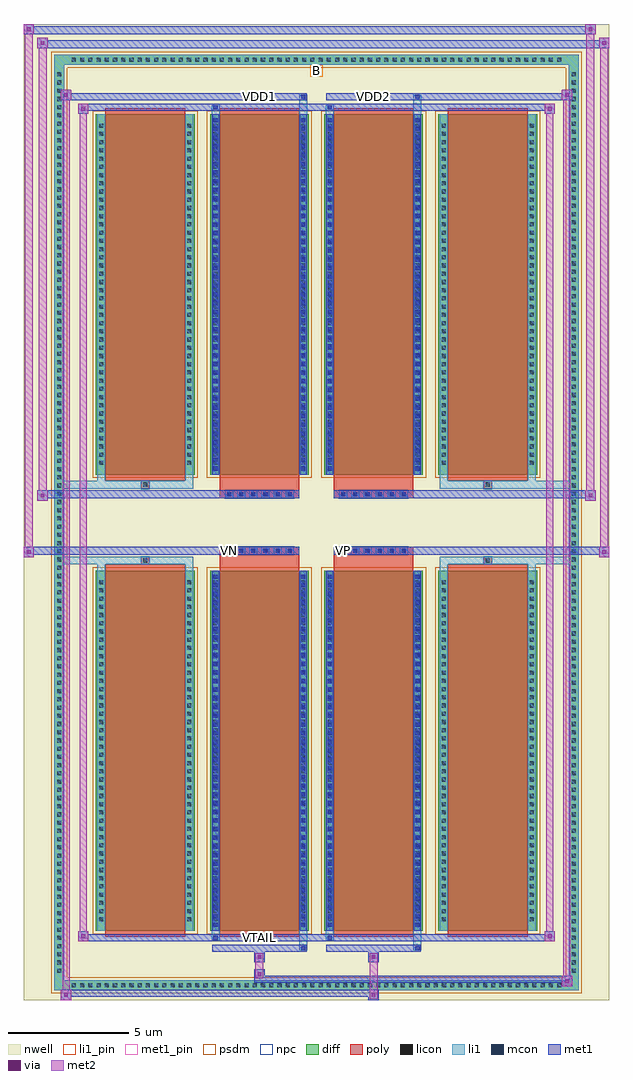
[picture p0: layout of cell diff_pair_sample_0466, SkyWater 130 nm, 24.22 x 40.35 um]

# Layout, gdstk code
import gdstk
lib = gdstk.Library(unit=1e-6, precision=5e-09)
def R(c, l, rs):  # rectangles x0, y0, x1, y1
    for r in rs: c.add(gdstk.rectangle(r[:2], r[2:], *l))
def A(c, l, x, y, w, h, nx, ny, dx, dy):  # array of equal rectangles
    R(c, l, [(x+i*dx, y+j*dy, x+i*dx+w, y+j*dy+h) for i in range(nx) for j in range(ny)])
def P(c, l, *ps):  # polygons
    for p in ps: c.add(gdstk.Polygon(p, *l))
nwell = (64, 20)
diff = (65, 20)
poly = (66, 20)
licon = (66, 44)
li1_pin = (67, 16)
li1 = (67, 20)
mcon = (67, 44)
met1_pin = (68, 16)
met1 = (68, 20)
via = (68, 44)
met2 = (69, 20)
psdm = (94, 20)
npc = (95, 20)

diff_pair_sample_0466 = lib.new_cell('diff_pair_sample_0466')
R(diff_pair_sample_0466, nwell, [(-12.11,-19.74,12.11,20.61), (-9.43,-17.93,-0.01,-0.805), (0.01,-17.93,9.43,-0.805), (-9.43,0.805,-0.01,17.93), (0.01,0.805,9.43,17.93)])
A(diff_pair_sample_0466, diff, -10.235, -19.34, 0.41, 0.41, 60, 2, 0.34, 38.27)
A(diff_pair_sample_0466, diff, -10.84, -18.735, 0.41, 0.41, 1, 110, 0, 0.34)
A(diff_pair_sample_0466, diff, 10.43, -18.735, 0.41, 0.41, 1, 110, 0, 0.34)
A(diff_pair_sample_0466, diff, -9.12, -16.885, 4.08, 14.9, 4, 2, 4.72, 18.87)
R(diff_pair_sample_0466, diff, [(-10.235,-19.34,10.235,-18.93), (-10.84,-18.735,-10.43,18.735), (10.43,-18.735,10.84,18.735), (-10.235,18.93,10.235,19.34)])
P(diff_pair_sample_0466, diff, [(10.84,19.34),(-10.84,19.34),(-10.84,-18.93),(-10.43,-18.93),(-10.43,18.93),(10.43,18.93),(10.43,-18.93),(-10.43,-18.93),(-10.84,-18.93),(-10.84,-19.34),(10.84,-19.34)])
A(diff_pair_sample_0466, poly, -8.73, -17.135, 3.3, 15.4, 4, 2, 4.72, 18.87)
A(diff_pair_sample_0466, poly, -3.775, -1.335, 0.33, 0.33, 6, 2, 0.5, 2.34)
A(diff_pair_sample_0466, poly, 0.945, -1.335, 0.33, 0.33, 6, 2, 0.5, 2.34)
R(diff_pair_sample_0466, poly, [(-7.245,-1.735,-6.915,-1.405), (-7.245,-1.735,-6.915,-1.405), (-4.01,-1.735,-0.71,-1.335), (0.71,-1.735,4.01,-1.335), (6.915,-1.735,7.245,-1.405), (6.915,-1.735,7.245,-1.405), (-4.01,-1.335,-0.71,-1.005), (0.71,-1.335,4.01,-1.005), (-4.01,1.005,-0.71,1.335), (0.71,1.005,4.01,1.335), (-4.01,1.335,-0.71,1.735), (0.71,1.335,4.01,1.735), (-7.245,1.405,-6.915,1.735), (-7.245,1.405,-6.915,1.735), (6.915,1.405,7.245,1.735), (6.915,1.405,7.245,1.735)])
A(diff_pair_sample_0466, licon, -10.115, -19.22, 0.17, 0.17, 60, 2, 0.34, 38.27)
A(diff_pair_sample_0466, licon, -10.72, -18.615, 0.17, 0.17, 1, 110, 0, 0.34)
A(diff_pair_sample_0466, licon, 10.55, -18.615, 0.17, 0.17, 1, 110, 0, 0.34)
A(diff_pair_sample_0466, licon, -8.98, -16.49, 0.17, 0.17, 1, 42, 0, 0.34)
A(diff_pair_sample_0466, licon, -5.35, -16.49, 0.17, 0.17, 1, 42, 0, 0.34)
A(diff_pair_sample_0466, licon, -4.26, -16.49, 0.17, 0.17, 1, 42, 0, 0.34)
A(diff_pair_sample_0466, licon, -0.63, -16.49, 0.17, 0.17, 1, 42, 0, 0.34)
A(diff_pair_sample_0466, licon, 0.46, -16.49, 0.17, 0.17, 1, 42, 0, 0.34)
A(diff_pair_sample_0466, licon, 4.09, -16.49, 0.17, 0.17, 1, 42, 0, 0.34)
A(diff_pair_sample_0466, licon, 5.18, -16.49, 0.17, 0.17, 1, 42, 0, 0.34)
A(diff_pair_sample_0466, licon, 8.81, -16.49, 0.17, 0.17, 1, 42, 0, 0.34)
A(diff_pair_sample_0466, licon, -3.695, -1.255, 0.17, 0.17, 6, 2, 0.5, 2.34)
A(diff_pair_sample_0466, licon, 1.025, -1.255, 0.17, 0.17, 6, 2, 0.5, 2.34)
A(diff_pair_sample_0466, licon, -8.98, 2.38, 0.17, 0.17, 1, 42, 0, 0.34)
A(diff_pair_sample_0466, licon, -5.35, 2.38, 0.17, 0.17, 1, 42, 0, 0.34)
A(diff_pair_sample_0466, licon, -4.26, 2.38, 0.17, 0.17, 1, 42, 0, 0.34)
A(diff_pair_sample_0466, licon, -0.63, 2.38, 0.17, 0.17, 1, 42, 0, 0.34)
A(diff_pair_sample_0466, licon, 0.46, 2.38, 0.17, 0.17, 1, 42, 0, 0.34)
A(diff_pair_sample_0466, licon, 4.09, 2.38, 0.17, 0.17, 1, 42, 0, 0.34)
A(diff_pair_sample_0466, licon, 5.18, 2.38, 0.17, 0.17, 1, 42, 0, 0.34)
A(diff_pair_sample_0466, licon, 8.81, 2.38, 0.17, 0.17, 1, 42, 0, 0.34)
R(diff_pair_sample_0466, licon, [(-7.165,-1.655,-6.995,-1.485), (6.995,-1.655,7.165,-1.485), (-7.165,1.485,-6.995,1.655), (6.995,1.485,7.165,1.655)])
R(diff_pair_sample_0466, li1_pin, [(-0.25,18.43,0.25,18.93)])
A(diff_pair_sample_0466, li1, -10.195, -19.3, 0.33, 0.33, 60, 2, 0.34, 38.27)
A(diff_pair_sample_0466, li1, -10.8, -18.695, 0.33, 0.33, 1, 110, 0, 0.34)
A(diff_pair_sample_0466, li1, 10.47, -18.695, 0.33, 0.33, 1, 110, 0, 0.34)
A(diff_pair_sample_0466, li1, -4.26, -16.72, 0.17, 0.17, 1, 41, 0, 0.36)
A(diff_pair_sample_0466, li1, -0.63, -16.72, 0.17, 0.17, 1, 41, 0, 0.36)
A(diff_pair_sample_0466, li1, 0.46, -16.72, 0.17, 0.17, 1, 41, 0, 0.36)
A(diff_pair_sample_0466, li1, 4.09, -16.72, 0.17, 0.17, 1, 41, 0, 0.36)
A(diff_pair_sample_0466, li1, -9.06, -16.57, 0.33, 0.33, 1, 42, 0, 0.34)
A(diff_pair_sample_0466, li1, -5.43, -16.57, 0.33, 0.33, 1, 42, 0, 0.34)
A(diff_pair_sample_0466, li1, -4.34, -16.57, 0.33, 0.33, 1, 42, 0, 0.34)
A(diff_pair_sample_0466, li1, -0.71, -16.57, 0.33, 0.33, 1, 42, 0, 0.34)
A(diff_pair_sample_0466, li1, 0.38, -16.57, 0.33, 0.33, 1, 42, 0, 0.34)
A(diff_pair_sample_0466, li1, 4.01, -16.57, 0.33, 0.33, 1, 42, 0, 0.34)
A(diff_pair_sample_0466, li1, 5.1, -16.57, 0.33, 0.33, 1, 42, 0, 0.34)
A(diff_pair_sample_0466, li1, 8.73, -16.57, 0.33, 0.33, 1, 42, 0, 0.34)
A(diff_pair_sample_0466, li1, -3.775, -1.335, 0.33, 0.33, 6, 2, 0.5, 2.34)
A(diff_pair_sample_0466, li1, 0.945, -1.335, 0.33, 0.33, 6, 2, 0.5, 2.34)
A(diff_pair_sample_0466, li1, -4.26, 2.15, 0.17, 0.17, 1, 41, 0, 0.36)
A(diff_pair_sample_0466, li1, -0.63, 2.15, 0.17, 0.17, 1, 41, 0, 0.36)
A(diff_pair_sample_0466, li1, 0.46, 2.15, 0.17, 0.17, 1, 41, 0, 0.36)
A(diff_pair_sample_0466, li1, 4.09, 2.15, 0.17, 0.17, 1, 41, 0, 0.36)
A(diff_pair_sample_0466, li1, -9.06, 2.3, 0.33, 0.33, 1, 42, 0, 0.34)
A(diff_pair_sample_0466, li1, -5.43, 2.3, 0.33, 0.33, 1, 42, 0, 0.34)
A(diff_pair_sample_0466, li1, -4.34, 2.3, 0.33, 0.33, 1, 42, 0, 0.34)
A(diff_pair_sample_0466, li1, -0.71, 2.3, 0.33, 0.33, 1, 42, 0, 0.34)
A(diff_pair_sample_0466, li1, 0.38, 2.3, 0.33, 0.33, 1, 42, 0, 0.34)
A(diff_pair_sample_0466, li1, 4.01, 2.3, 0.33, 0.33, 1, 42, 0, 0.34)
A(diff_pair_sample_0466, li1, 5.1, 2.3, 0.33, 0.33, 1, 42, 0, 0.34)
A(diff_pair_sample_0466, li1, 8.73, 2.3, 0.33, 0.33, 1, 42, 0, 0.34)
R(diff_pair_sample_0466, li1, [(-10.84,-19.34,-10.43,-18.93), (-10.84,-19.34,-10.43,-18.93), (-10.43,-19.34,10.43,-18.93), (10.43,-19.34,10.84,-18.93), (10.43,-19.34,10.84,-18.93), (-10.84,-18.93,-10.43,18.93), (10.43,-18.93,10.84,18.93), (-0.71,-17.69,-0.38,-16.885), (-0.63,-17.69,-0.46,-17.52), (4.01,-17.69,4.34,-16.885), (4.09,-17.69,4.26,-17.52), (-4.34,-17.26,-4.01,-16.885), (-4.26,-17.26,-4.09,-17.09), (0.38,-17.26,0.71,-16.885), (0.46,-17.26,0.63,-17.09), (-9.06,-16.885,-8.73,-1.985), (-5.43,-16.885,-5.1,-1.985), (-4.34,-16.885,-4.01,-1.985), (-0.71,-16.885,-0.38,-1.985), (0.38,-16.885,0.71,-1.985), (4.01,-16.885,4.34,-1.985), (5.1,-16.885,5.43,-1.985), (8.73,-16.885,9.06,-1.985), (-4.26,-16.72,-4.09,-2.15), (-0.63,-16.72,-0.46,-2.15), (0.46,-16.72,0.63,-2.15), (4.09,-16.72,4.26,-2.15), (-9.06,-1.985,-8.73,-1.405), (-5.43,-1.985,-5.1,-1.405), (5.1,-1.985,5.43,-1.405), (8.73,-1.985,9.06,-1.405), (-10.84,-1.735,-7.245,-1.405), (-9.06,-1.735,-7.245,-1.405), (-7.245,-1.735,-6.915,-1.405), (-6.915,-1.735,-5.1,-1.405), (5.1,-1.735,6.915,-1.405), (6.915,-1.735,7.245,-1.405), (6.915,-1.735,10.84,-1.405), (7.245,-1.735,9.06,-1.405), (-10.84,1.405,-7.245,1.735), (-9.06,1.405,-7.245,1.735), (-9.06,1.405,-8.73,1.985), (-7.245,1.405,-6.915,1.735), (-6.915,1.405,-5.1,1.735), (-5.43,1.405,-5.1,1.985), (5.1,1.405,6.915,1.735), (5.1,1.405,5.43,1.985), (6.915,1.405,7.245,1.735), (6.915,1.405,10.84,1.735), (7.245,1.405,9.06,1.735), (8.73,1.405,9.06,1.985), (-9.06,1.985,-8.73,16.885), (-5.43,1.985,-5.1,16.885), (-4.34,1.985,-4.01,16.885), (-0.71,1.985,-0.38,16.885), (0.38,1.985,0.71,16.885), (4.01,1.985,4.34,16.885), (5.1,1.985,5.43,16.885), (8.73,1.985,9.06,16.885), (-4.26,2.15,-4.09,16.72), (-0.63,2.15,-0.46,16.72), (0.46,2.15,0.63,16.72), (4.09,2.15,4.26,16.72), (-4.34,16.885,-4.01,17.26), (-0.71,16.885,-0.38,17.69), (0.38,16.885,0.71,17.26), (4.01,16.885,4.34,17.69), (-4.26,17.09,-4.09,17.26), (0.46,17.09,0.63,17.26), (-0.63,17.52,-0.46,17.69), (4.09,17.52,4.26,17.69), (-10.84,18.93,-10.43,19.34), (-10.84,18.93,-10.43,19.34), (-10.43,18.93,10.43,19.34), (10.43,18.93,10.84,19.34), (10.43,18.93,10.84,19.34)])
A(diff_pair_sample_0466, mcon, -4.26, -16.72, 0.17, 0.17, 1, 41, 0, 0.36)
A(diff_pair_sample_0466, mcon, -0.63, -16.72, 0.17, 0.17, 1, 41, 0, 0.36)
A(diff_pair_sample_0466, mcon, 0.46, -16.72, 0.17, 0.17, 1, 41, 0, 0.36)
A(diff_pair_sample_0466, mcon, 4.09, -16.72, 0.17, 0.17, 1, 41, 0, 0.36)
A(diff_pair_sample_0466, mcon, -3.695, -1.255, 0.17, 0.17, 6, 2, 0.5, 2.34)
A(diff_pair_sample_0466, mcon, 1.025, -1.255, 0.17, 0.17, 6, 2, 0.5, 2.34)
A(diff_pair_sample_0466, mcon, -4.26, 2.15, 0.17, 0.17, 1, 41, 0, 0.36)
A(diff_pair_sample_0466, mcon, -0.63, 2.15, 0.17, 0.17, 1, 41, 0, 0.36)
A(diff_pair_sample_0466, mcon, 0.46, 2.15, 0.17, 0.17, 1, 41, 0, 0.36)
A(diff_pair_sample_0466, mcon, 4.09, 2.15, 0.17, 0.17, 1, 41, 0, 0.36)
R(diff_pair_sample_0466, mcon, [(-0.63,-17.69,-0.46,-17.52), (4.09,-17.69,4.26,-17.52), (-4.26,-17.26,-4.09,-17.09), (0.46,-17.26,0.63,-17.09), (-4.26,17.09,-4.09,17.26), (0.46,17.09,0.63,17.26), (-0.63,17.52,-0.46,17.69), (4.09,17.52,4.26,17.69)])
R(diff_pair_sample_0466, met1_pin, [(-2.495,-17.3,-2.225,-17.03), (-3.745,-1.295,-3.475,-1.025), (0.975,-1.295,1.245,-1.025), (-2.495,17.48,-2.225,17.75), (2.225,17.48,2.495,17.75)])
A(diff_pair_sample_0466, met1, -4.32, -16.78, 0.29, 0.29, 1, 41, 0, 0.36)
A(diff_pair_sample_0466, met1, -0.69, -16.78, 0.29, 0.29, 1, 41, 0, 0.36)
A(diff_pair_sample_0466, met1, 0.4, -16.78, 0.29, 0.29, 1, 41, 0, 0.36)
A(diff_pair_sample_0466, met1, 4.03, -16.78, 0.29, 0.29, 1, 41, 0, 0.36)
A(diff_pair_sample_0466, met1, -3.755, -1.315, 0.29, 0.29, 6, 2, 0.5, 2.34)
A(diff_pair_sample_0466, met1, 0.965, -1.315, 0.29, 0.29, 6, 2, 0.5, 2.34)
A(diff_pair_sample_0466, met1, -4.32, 2.09, 0.29, 0.29, 1, 41, 0, 0.36)
A(diff_pair_sample_0466, met1, -0.69, 2.09, 0.29, 0.29, 1, 41, 0, 0.36)
A(diff_pair_sample_0466, met1, 0.4, 2.09, 0.29, 0.29, 1, 41, 0, 0.36)
A(diff_pair_sample_0466, met1, 4.03, 2.09, 0.29, 0.29, 1, 41, 0, 0.36)
R(diff_pair_sample_0466, met1, [(-10.57,-19.74,-10.14,-19.31), (2.145,-19.74,2.575,-19.31), (-10.57,-19.6,2.575,-19.31), (10.14,-19.17,10.57,-18.74), (-2.575,-19.03,10.57,-18.74), (-2.575,-18.89,-2.145,-18.46), (-2.575,-18.18,-2.145,-17.75), (2.145,-18.18,2.575,-17.75), (-4.32,-17.75,-0.4,-17.46), (-0.69,-17.75,-0.4,-17.46), (0.4,-17.75,4.32,-17.46), (4.03,-17.75,4.32,-17.46), (-9.86,-17.32,-9.43,-16.89), (-9.86,-17.32,-4.32,-17.03), (-4.32,-17.32,-4.03,-17.03), (-4.32,-17.32,-0.4,-17.03), (-0.4,-17.32,0.4,-17.03), (0.4,-17.32,0.69,-17.03), (0.4,-17.32,4.32,-17.03), (4.32,-17.32,9.86,-17.03), (9.43,-17.32,9.86,-16.89), (-4.32,-16.885,-4.03,-1.985), (-0.69,-16.885,-0.4,-1.985), (0.4,-16.885,0.69,-1.985), (4.03,-16.885,4.32,-1.985), (-12.11,-1.435,-11.68,-1.005), (11.68,-1.435,12.11,-1.005), (-12.11,-1.335,-0.71,-1.005), (-4.01,-1.335,-0.71,-1.005), (0.71,-1.335,4.01,-1.005), (0.71,-1.335,12.11,-1.005), (-11.54,0.905,-11.11,1.335), (11.11,0.905,11.54,1.335), (-11.54,1.005,-4.01,1.335), (-4.01,1.005,-0.71,1.335), (0.71,1.005,4.01,1.335), (4.01,1.005,11.54,1.335), (-4.32,1.985,-4.03,16.885), (-0.69,1.985,-0.4,16.885), (0.4,1.985,0.69,16.885), (4.03,1.985,4.32,16.885), (-9.86,16.89,-9.43,17.32), (9.43,16.89,9.86,17.32), (-9.86,17.03,-4.32,17.32), (-4.32,17.03,-4.03,17.32), (-4.32,17.03,-0.4,17.32), (-0.4,17.03,0.4,17.32), (0.4,17.03,0.69,17.32), (0.4,17.03,4.32,17.32), (4.32,17.03,9.86,17.32), (-10.57,17.46,-10.14,17.89), (-10.57,17.46,-4.32,17.75), (-4.32,17.46,-0.4,17.75), (-0.69,17.46,-0.4,17.75), (0.4,17.46,4.32,17.75), (4.03,17.46,4.32,17.75), (4.32,17.46,10.57,17.75), (10.14,17.46,10.57,17.89), (-11.54,19.61,-11.11,20.04), (-11.54,19.61,-9.43,19.94), (-9.43,19.61,9.43,19.94), (9.43,19.61,12.11,19.94), (11.68,19.61,12.11,20.04), (-12.11,20.18,-11.68,20.61), (-12.11,20.18,-9.43,20.51), (-9.43,20.18,9.43,20.51), (9.43,20.18,11.54,20.51), (11.11,20.18,11.54,20.61)])
R(diff_pair_sample_0466, via, [(-10.43,-19.6,-10.28,-19.45), (2.285,-19.6,2.435,-19.45), (10.28,-19.03,10.43,-18.88), (-2.435,-18.75,-2.285,-18.6), (-2.435,-18.04,-2.285,-17.89), (2.285,-18.04,2.435,-17.89), (-9.72,-17.18,-9.57,-17.03), (9.57,-17.18,9.72,-17.03), (-11.97,-1.295,-11.82,-1.145), (11.82,-1.295,11.97,-1.145), (-11.4,1.045,-11.25,1.195), (11.25,1.045,11.4,1.195), (-9.72,17.03,-9.57,17.18), (9.57,17.03,9.72,17.18), (-10.43,17.6,-10.28,17.75), (10.28,17.6,10.43,17.75), (-11.4,19.75,-11.25,19.9), (11.82,19.75,11.97,19.9), (-11.97,20.32,-11.82,20.47), (11.25,20.32,11.4,20.47)])
R(diff_pair_sample_0466, met2, [(-10.57,-19.74,-10.14,-19.31), (-10.5,-19.74,-10.21,17.89), (-10.21,-19.74,-10.14,-19.31), (-10.52,-19.69,-10.19,-19.36), (2.195,-19.69,2.525,-19.36), (2.195,-19.36,2.525,-18.13), (10.14,-19.17,10.57,-18.74), (10.21,-19.17,10.5,17.89), (10.5,-19.17,10.57,-18.74), (10.19,-19.12,10.52,-18.79), (-2.525,-18.84,-2.195,-18.51), (-2.525,-18.51,-2.195,-18.13), (-2.525,-18.13,-2.195,-17.8), (2.195,-18.13,2.525,-17.8), (-9.86,-17.32,-9.43,-16.89), (-9.79,-17.32,-9.5,17.32), (-9.5,-17.32,-9.43,-16.89), (9.43,-17.32,9.86,-16.89), (9.5,-17.32,9.79,17.32), (9.79,-17.32,9.86,-16.89), (-9.81,-17.27,-9.48,-16.94), (9.48,-17.27,9.81,-16.94), (-12.11,-1.435,-11.68,-1.005), (-12.06,-1.435,-11.73,20.61), (-11.73,-1.435,-11.68,-1.005), (11.68,-1.435,12.11,-1.005), (11.73,-1.435,12.06,20.04), (12.06,-1.435,12.11,-1.005), (-12.06,-1.385,-11.73,-1.055), (11.73,-1.385,12.06,-1.055), (-11.54,0.905,-11.11,1.335), (-11.49,0.905,-11.16,20.04), (-11.16,0.905,-11.11,1.335), (11.11,0.905,11.54,1.335), (11.16,0.905,11.49,20.61), (11.49,0.905,11.54,1.335), (-11.49,0.955,-11.16,1.285), (11.16,0.955,11.49,1.285), (-9.86,16.89,-9.43,17.32), (-9.5,16.89,-9.43,17.32), (9.43,16.89,9.86,17.32), (9.79,16.89,9.86,17.32), (-9.81,16.94,-9.48,17.27), (9.48,16.94,9.81,17.27), (-10.57,17.46,-10.14,17.89), (-10.21,17.46,-10.14,17.89), (10.14,17.46,10.57,17.89), (10.5,17.46,10.57,17.89), (-10.52,17.51,-10.19,17.84), (10.19,17.51,10.52,17.84), (-11.54,19.61,-11.11,20.04), (-11.16,19.61,-11.11,20.04), (11.68,19.61,12.11,20.04), (12.06,19.61,12.11,20.04), (-11.49,19.66,-11.16,19.99), (11.73,19.66,12.06,19.99), (-12.11,20.18,-11.68,20.61), (-11.73,20.18,-11.68,20.61), (11.11,20.18,11.54,20.61), (11.49,20.18,11.54,20.61), (-12.06,20.23,-11.73,20.56), (11.16,20.23,11.49,20.56)])
A(diff_pair_sample_0466, psdm, -9.25, -17.015, 4.34, 15.16, 4, 2, 4.72, 18.87)
P(diff_pair_sample_0466, psdm, [(10.97,19.47),(-10.97,19.47),(-10.97,-18.8),(-10.3,-18.8),(-10.3,18.8),(10.3,18.8),(10.3,-18.8),(-10.3,-18.8),(-10.97,-18.8),(-10.97,-19.47),(10.97,-19.47)])
A(diff_pair_sample_0466, npc, -3.795, -1.355, 0.37, 0.37, 6, 2, 0.5, 2.34)
A(diff_pair_sample_0466, npc, 0.925, -1.355, 0.37, 0.37, 6, 2, 0.5, 2.34)
R(diff_pair_sample_0466, npc, [(-7.265,-1.755,-6.895,-1.385), (6.895,-1.755,7.265,-1.385), (-3.795,-1.355,-2.925,-0.985), (-3.795,-1.355,-2.925,-0.985), (-3.295,-1.355,-2.425,-0.985), (-3.295,-1.355,-2.425,-0.985), (-2.795,-1.355,-1.925,-0.985), (-2.795,-1.355,-1.925,-0.985), (-2.295,-1.355,-1.425,-0.985), (-2.295,-1.355,-1.425,-0.985), (-1.795,-1.355,-0.925,-0.985), (-1.795,-1.355,-0.925,-0.985), (0.925,-1.355,1.795,-0.985), (0.925,-1.355,1.795,-0.985), (1.425,-1.355,2.295,-0.985), (1.425,-1.355,2.295,-0.985), (1.925,-1.355,2.795,-0.985), (1.925,-1.355,2.795,-0.985), (2.425,-1.355,3.295,-0.985), (2.425,-1.355,3.295,-0.985), (2.925,-1.355,3.795,-0.985), (2.925,-1.355,3.795,-0.985), (-3.795,0.985,-2.925,1.355), (-3.795,0.985,-2.925,1.355), (-3.295,0.985,-2.425,1.355), (-3.295,0.985,-2.425,1.355), (-2.795,0.985,-1.925,1.355), (-2.795,0.985,-1.925,1.355), (-2.295,0.985,-1.425,1.355), (-2.295,0.985,-1.425,1.355), (-1.795,0.985,-0.925,1.355), (-1.795,0.985,-0.925,1.355), (0.925,0.985,1.795,1.355), (0.925,0.985,1.795,1.355), (1.425,0.985,2.295,1.355), (1.425,0.985,2.295,1.355), (1.925,0.985,2.795,1.355), (1.925,0.985,2.795,1.355), (2.425,0.985,3.295,1.355), (2.425,0.985,3.295,1.355), (2.925,0.985,3.795,1.355), (2.925,0.985,3.795,1.355), (-7.265,1.385,-6.895,1.755), (6.895,1.385,7.265,1.755)])
diff_pair_sample_0466.add(gdstk.Label('VTAIL', (-2.36,-17.165), layer=68, texttype=5))
diff_pair_sample_0466.add(gdstk.Label('VN', (-3.61,-1.16), layer=68, texttype=5))
diff_pair_sample_0466.add(gdstk.Label('VP', (1.11,-1.16), layer=68, texttype=5))
diff_pair_sample_0466.add(gdstk.Label('B', (0,18.68), layer=67, texttype=5))
diff_pair_sample_0466.add(gdstk.Label('VDD2', (2.36,17.615), layer=68, texttype=5))
diff_pair_sample_0466.add(gdstk.Label('VDD1', (-2.36,17.615), layer=68, texttype=5))

lib.write_gds('diff_pair_sample_0466.gds')
